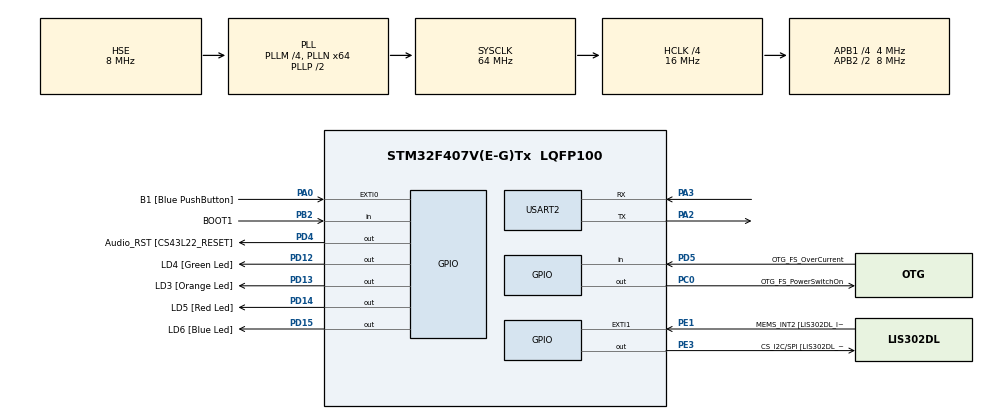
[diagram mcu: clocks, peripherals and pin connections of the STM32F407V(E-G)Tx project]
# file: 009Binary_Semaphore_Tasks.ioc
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Mcu.Family=STM32F4
Mcu.Name=STM32F407V(E-G)Tx
Mcu.Package=LQFP100
NVIC.PriorityGroup=NVIC_PRIORITYGROUP_4
NVIC.TIM6_DAC_IRQn=true\:0\:0\:false\:false\:true\:false\:true\:true
NVIC.TimeBase=TIM6_DAC_IRQn
NVIC.TimeBaseIP=TIM6
NVIC.USART2_IRQn=true\:6\:0\:true\:false\:true\:true\:true\:true
PA0-WKUP.GPIO_Label=B1 [Blue PushButton]
PA0-WKUP.GPIO_ModeDefaultEXTI=GPIO_MODE_IT_FALLING
PA0-WKUP.Signal=GPXTI0
PA10.GPIO_Label=OTG_FS_ID
PA10.GPIO_Mode=GPIO_MODE_AF_PP
PA10.GPIO_PuPd=GPIO_NOPULL
PA10.GPIO_Speed=GPIO_SPEED_FREQ_LOW
PA10.Signal=USB_OTG_FS_ID
PA11.GPIO_Label=OTG_FS_DM
PA11.GPIO_Mode=GPIO_MODE_AF_PP
PA11.GPIO_PuPd=GPIO_NOPULL
PA11.GPIO_Speed=GPIO_SPEED_FREQ_LOW
PA11.Signal=USB_OTG_FS_DM
PA12.GPIO_Label=OTG_FS_DP
PA12.GPIO_Mode=GPIO_MODE_AF_PP
PA12.GPIO_PuPd=GPIO_NOPULL
PA12.GPIO_Speed=GPIO_SPEED_FREQ_LOW
PA12.Signal=USB_OTG_FS_DP
PA13.GPIO_Label=SWDIO
PA13.Signal=SYS_JTMS-SWDIO
PA14.GPIO_Label=SWCLK
PA14.Signal=SYS_JTCK-SWCLK
PA2.Mode=Asynchronous
PA2.Signal=USART2_TX
PA3.Mode=Asynchronous
PA3.Signal=USART2_RX
PA4.GPIO_Label=I2S3_WS [CS43L22_LRCK]
PA4.GPIO_Mode=GPIO_MODE_AF_PP
PA4.GPIO_PuPd=GPIO_NOPULL
PA4.GPIO_Speed=GPIO_SPEED_FREQ_LOW
PA4.Signal=I2S3_WS
PA5.GPIO_Label=SPI1_SCK [LIS302DL_SCL/SPC]
PA5.GPIO_Mode=GPIO_MODE_AF_PP
PA5.GPIO_PuPd=GPIO_NOPULL
PA5.GPIO_Speed=GPIO_SPEED_FREQ_LOW
PA5.Signal=SPI1_SCK
PA6.GPIO_Label=SPI1_MISO [LIS302DL_SDO]
PA6.GPIO_Mode=GPIO_MODE_AF_PP
PA6.GPIO_PuPd=GPIO_NOPULL
PA6.GPIO_Speed=GPIO_SPEED_FREQ_LOW
PA6.Signal=SPI1_MISO
PA7.GPIO_Label=SPI1_MOSI [LIS302DL_SDA/SDI/SDO]
PA7.GPIO_Mode=GPIO_MODE_AF_PP
PA7.GPIO_PuPd=GPIO_NOPULL
PA7.GPIO_Speed=GPIO_SPEED_FREQ_LOW
PA7.Signal=SPI1_MOSI
PA9.GPIO_Label=VBUS_FS
PA9.GPIO_Mode=GPIO_MODE_INPUT
PA9.GPIO_PuPd=GPIO_NOPULL
PA9.Signal=USB_OTG_FS_VBUS
PB10.GPIO_Label=CLK_IN [MP45DT02_CLK]
PB10.GPIO_Mode=GPIO_MODE_AF_PP
PB10.GPIO_PuPd=GPIO_NOPULL
PB10.GPIO_Speed=GPIO_SPEED_FREQ_LOW
PB10.Signal=I2S2_CK
PB2.GPIO_Label=BOOT1
PB2.GPIO_Mode=GPIO_MODE_INPUT
PB2.GPIO_PuPd=GPIO_NOPULL
PB2.Signal=GPIO_Input
PB3.GPIO_Label=SWO
PB3.Signal=SYS_JTDO-SWO
PB6.GPIO_Label=Audio_SCL [CS43L22_SCL]
PB6.GPIO_Mode=GPIO_MODE_AF_OD
PB6.GPIO_PuPd=GPIO_NOPULL
PB6.GPIO_Speed=GPIO_SPEED_FREQ_LOW
PB6.Signal=I2C1_SCL
PB9.GPIO_Label=Audio_SDA [CS43L22_SDA]
PB9.GPIO_Mode=GPIO_MODE_AF_OD
PB9.GPIO_PuPd=GPIO_NOPULL
PB9.GPIO_Speed=GPIO_SPEED_FREQ_LOW
PB9.Signal=I2C1_SDA
PC0.GPIO_Label=OTG_FS_PowerSwitchOn
PC0.GPIO_PuPd=GPIO_NOPULL
PC0.GPIO_Speed=GPIO_SPEED_FREQ_LOW
PC0.PinState=GPIO_PIN_SET
PC0.Signal=GPIO_Output
PC10.GPIO_Label=I2S3_SCK [CS43L22_SCLK]
PC10.GPIO_Mode=GPIO_MODE_AF_PP
PC10.GPIO_PuPd=GPIO_NOPULL
PC10.GPIO_Speed=GPIO_SPEED_FREQ_LOW
PC10.Signal=I2S3_CK
PC12.GPIO_Label=I2S3_SD [CS43L22_SDIN]
PC12.GPIO_Mode=GPIO_MODE_AF_PP
PC12.GPIO_PuPd=GPIO_NOPULL
PC12.GPIO_Speed=GPIO_SPEED_FREQ_LOW
PC12.Signal=I2S3_SD
PC14-OSC32_IN.GPIO_Label=PC14-OSC32_IN
PC14-OSC32_IN.Signal=RCC_OSC32_IN
PC15-OSC32_OUT.GPIO_Label=PC15-OSC32_OUT
PC15-OSC32_OUT.Signal=RCC_OSC32_OUT
PC3.GPIO_Label=PDM_OUT [MP45DT02_DOUT]
PC3.GPIO_Mode=GPIO_MODE_AF_PP
PC3.GPIO_PuPd=GPIO_NOPULL
PC3.GPIO_Speed=GPIO_SPEED_FREQ_LOW
PC3.Signal=I2S2_SD
PC7.GPIO_Label=I2S3_MCK [CS43L22_MCLK]
PC7.GPIO_Mode=GPIO_MODE_AF_PP
PC7.GPIO_PuPd=GPIO_NOPULL
PC7.GPIO_Speed=GPIO_SPEED_FREQ_LOW
PC7.Signal=I2S3_MCK
PD12.GPIO_Label=LD4 [Green Led]
PD12.GPIO_PuPd=GPIO_NOPULL
PD12.GPIO_Speed=GPIO_SPEED_FREQ_LOW
PD12.Signal=GPIO_Output
PD13.GPIO_Label=LD3 [Orange Led]
PD13.GPIO_PuPd=GPIO_NOPULL
PD13.GPIO_Speed=GPIO_SPEED_FREQ_LOW
PD13.Signal=GPIO_Output
PD14.GPIO_Label=LD5 [Red Led]
PD14.GPIO_PuPd=GPIO_NOPULL
PD14.GPIO_Speed=GPIO_SPEED_FREQ_LOW
PD14.Signal=GPIO_Output
PD15.GPIO_Label=LD6 [Blue Led]
PD15.GPIO_PuPd=GPIO_NOPULL
PD15.GPIO_Speed=GPIO_SPEED_FREQ_LOW
PD15.Signal=GPIO_Output
PD4.GPIO_Label=Audio_RST [CS43L22_RESET]
PD4.GPIO_PuPd=GPIO_NOPULL
PD4.GPIO_Speed=GPIO_SPEED_FREQ_LOW
PD4.Signal=GPIO_Output
PD5.GPIO_Label=OTG_FS_OverCurrent
PD5.GPIO_Mode=GPIO_MODE_INPUT
PD5.GPIO_PuPd=GPIO_NOPULL
PD5.Signal=GPIO_Input
PE1.GPIO_Label=MEMS_INT2 [LIS302DL_INT2]
PE1.GPIO_ModeDefaultEXTI=GPIO_MODE_EVT_RISING
PE1.GPIO_PuPd=GPIO_NOPULL
PE1.Signal=GPXTI1
PE3.GPIO_Label=CS_I2C/SPI [LIS302DL_CS_I2C/SPI]
PE3.GPIO_PuPd=GPIO_NOPULL
PE3.GPIO_Speed=GPIO_SPEED_FREQ_LOW
PE3.Signal=GPIO_Output
PH0-OSC_IN.GPIO_Label=PH0-OSC_IN
PH0-OSC_IN.Mode=HSE-External-Oscillator
PH0-OSC_IN.Signal=RCC_OSC_IN
PH1-OSC_OUT.GPIO_Label=PH1-OSC_OUT
PH1-OSC_OUT.Mode=HSE-External-Oscillator
PH1-OSC_OUT.Signal=RCC_OSC_OUT
ProjectManager.HeapSize=0x200
ProjectManager.StackSize=0x400
ProjectManager.TargetToolchain=STM32CubeIDE
RCC.48MHZClocksFreq_Value=18285714.285714287
RCC.AHBCLKDivider=RCC_SYSCLK_DIV4
RCC.AHBFreq_Value=16000000
RCC.APB1CLKDivider=RCC_HCLK_DIV4
RCC.APB1Freq_Value=4000000
RCC.APB1TimFreq_Value=8000000
RCC.APB2CLKDivider=RCC_HCLK_DIV2
RCC.APB2Freq_Value=8000000
RCC.APB2TimFreq_Value=16000000
RCC.CortexFreq_Value=16000000
RCC.HCLKFreq_Value=16000000
RCC.HSE_VALUE=8000000
RCC.HSI_VALUE=16000000
RCC.LSE_VALUE=32768
RCC.PLLM=4
RCC.PLLN=64
RCC.PLLQ=7
RCC.PLLSourceVirtual=RCC_PLLSOURCE_HSE
RCC.SYSCLKFreq_VALUE=64000000
RCC.SYSCLKSource=RCC_SYSCLKSOURCE_PLLCLK
RCC.VCOOutputFreq_Value=128000000
USART2.VirtualMode=VM_ASYNC
VP_SYS_VS_tim6.Mode=TIM6
board=STM32F407G-DISC1

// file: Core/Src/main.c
/* USER CODE BEGIN Header */
/**
  ******************************************************************************
  * @file           : main.c
  * @brief          : Main program body
  ******************************************************************************
  * @attention
  *
  * Copyright (c) 2024 STMicroelectronics.
  * All rights reserved.
  *
  * This software is licensed under terms that can be found in the LICENSE file
  * in the root directory of this software component.
  * If no LICENSE file comes with this software, it is provided AS-IS.
  *
  ******************************************************************************
  */
/* USER CODE END Header */
#include "main.h"

/* USER CODE BEGIN Includes */
#include <stdio.h>
#include <string.h>
#include <stdlib.h>
#include "FreeRTOS.h"
#include "task.h"
#include "semphr.h"
#include "queue.h"
/* USER CODE END Includes */

/* USER CODE BEGIN PD */
#define DWT_CTRL	(*(volatile uint32_t*)0xE0001000)

/* USER CODE END PD */

UART_HandleTypeDef huart2;

/* USER CODE BEGIN PV */

volatile BaseType_t status_button = 0;

/* USER CODE END PV */

void SystemClock_Config(void);
static void MX_GPIO_Init(void);
static void MX_USART2_UART_Init(void);
/* USER CODE BEGIN PFP */

//global space for some variable
char msg[250] = {0};

TaskHandle_t xTaskHandleM = NULL;
TaskHandle_t xTaskHandleE = NULL;

/* The tasks to be created. */
static void vManagerTask( void *pvParameters );
static void vEmployeeTask( void *pvParameters );

/* Declare a variable of type xSemaphoreHandle.  This is used to reference the
semaphore that is used to synchronize both manager and employee task */
xSemaphoreHandle xWork;

/* this is the queue which manager uses to put the work ticket id */
xQueueHandle xWorkQueue;

/* USER CODE END PFP */

int main(void)
{
  /* USER CODE BEGIN 1 */

  BaseType_t status;

  /* USER CODE END 1 */

  /* MCU Configuration--------------------------------------------------------*/

  /* Reset of all peripherals, Initializes the Flash interface and the Systick. */
  HAL_Init();

  /* Configure the system clock */
  SystemClock_Config();

  /* Initialize all configured peripherals */
  MX_GPIO_Init();
  MX_USART2_UART_Init();
  /* USER CODE BEGIN 2 */

  DWT->CYCCNT = 0;

  DWT->CTRL |= DWT_CTRL_CYCCNTENA_Msk;

  SEGGER_SYSVIEW_Conf();

  sprintf(msg, "Demo of Binary semaphore usage between 2 Tasks \r\n");
  HAL_UART_Transmit(&huart2, (uint8_t*)msg, strlen(msg), HAL_MAX_DELAY);

  /* Before a semaphore is used it must be explicitly created.
   * In this example a binary semaphore is created . */
  vSemaphoreCreateBinary( xWork );

  /* The queue is created to hold a maximum of 1 Element. */
  xWorkQueue = xQueueCreate( 1, sizeof( unsigned int ) );

  /* Check the semaphore and queue was created successfully. */
  if ( (xWork != NULL) && (xWorkQueue != NULL) ) {

	/* Create the 'Manager' task.  This is the task that will be synchronized with the Employee task.  The Manager task is created with a high priority  */
	status = xTaskCreate( vManagerTask, "Manager", 500, NULL, 3, NULL );
	configASSERT(status == pdPASS);

	/* Create a employee task with less priority than manager */
	status = xTaskCreate( vEmployeeTask, "Employee", 500, NULL, 1, NULL );
	configASSERT(status == pdPASS);

	/* Start the scheduler so the created tasks start executing. */
	vTaskStartScheduler();
  }

  sprintf(msg,"Queue/Sema create failed.. \r\n");
  HAL_UART_Transmit(&huart2, (uint8_t*)msg, strlen(msg), HAL_MAX_DELAY);

  /* USER CODE END 2 */

  /* Infinite loop */
  while (1)
  {

  }
}

void SystemClock_Config(void)
{
  RCC_OscInitTypeDef RCC_OscInitStruct = {0};
  RCC_ClkInitTypeDef RCC_ClkInitStruct = {0};

  /** Configure the main internal regulator output voltage
  */
  __HAL_RCC_PWR_CLK_ENABLE();
  __HAL_PWR_VOLTAGESCALING_CONFIG(PWR_REGULATOR_VOLTAGE_SCALE1);

  /** Initializes the RCC Oscillators according to the specified parameters
  * in the RCC_OscInitTypeDef structure.
  */
  RCC_OscInitStruct.OscillatorType = RCC_OSCILLATORTYPE_HSE;
  RCC_OscInitStruct.HSEState = RCC_HSE_ON;
  RCC_OscInitStruct.PLL.PLLState = RCC_PLL_ON;
  RCC_OscInitStruct.PLL.PLLSource = RCC_PLLSOURCE_HSE;
  RCC_OscInitStruct.PLL.PLLM = 4;
  RCC_OscInitStruct.PLL.PLLN = 64;
  RCC_OscInitStruct.PLL.PLLP = RCC_PLLP_DIV2;
  RCC_OscInitStruct.PLL.PLLQ = 7;
  if (HAL_RCC_OscConfig(&RCC_OscInitStruct) != HAL_OK)
  {
    Error_Handler();
  }

  /** Initializes the CPU, AHB and APB buses clocks
  */
  RCC_ClkInitStruct.ClockType = RCC_CLOCKTYPE_HCLK|RCC_CLOCKTYPE_SYSCLK
                              |RCC_CLOCKTYPE_PCLK1|RCC_CLOCKTYPE_PCLK2;
  RCC_ClkInitStruct.SYSCLKSource = RCC_SYSCLKSOURCE_PLLCLK;
  RCC_ClkInitStruct.AHBCLKDivider = RCC_SYSCLK_DIV4;
  RCC_ClkInitStruct.APB1CLKDivider = RCC_HCLK_DIV4;
  RCC_ClkInitStruct.APB2CLKDivider = RCC_HCLK_DIV2;

  if (HAL_RCC_ClockConfig(&RCC_ClkInitStruct, FLASH_LATENCY_0) != HAL_OK)
  {
    Error_Handler();
  }
}

static void MX_USART2_UART_Init(void)
{

  huart2.Instance = USART2;
  huart2.Init.BaudRate = 115200;
  huart2.Init.WordLength = UART_WORDLENGTH_8B;
  huart2.Init.StopBits = UART_STOPBITS_1;
  huart2.Init.Parity = UART_PARITY_NONE;
  huart2.Init.Mode = UART_MODE_TX_RX;
  huart2.Init.HwFlowCtl = UART_HWCONTROL_NONE;
  huart2.Init.OverSampling = UART_OVERSAMPLING_16;
  if (HAL_UART_Init(&huart2) != HAL_OK)
  {
    Error_Handler();
  }

}

static void MX_GPIO_Init(void)
{
  GPIO_InitTypeDef GPIO_InitStruct = {0};

  /* GPIO Ports Clock Enable */
  __HAL_RCC_GPIOE_CLK_ENABLE();
  __HAL_RCC_GPIOC_CLK_ENABLE();
  __HAL_RCC_GPIOH_CLK_ENABLE();
  __HAL_RCC_GPIOA_CLK_ENABLE();
  __HAL_RCC_GPIOB_CLK_ENABLE();
  __HAL_RCC_GPIOD_CLK_ENABLE();

  /*Configure GPIO pin Output Level */
  HAL_GPIO_WritePin(CS_I2C_SPI_GPIO_Port, CS_I2C_SPI_Pin, GPIO_PIN_RESET);

  /*Configure GPIO pin Output Level */
  HAL_GPIO_WritePin(OTG_FS_PowerSwitchOn_GPIO_Port, OTG_FS_PowerSwitchOn_Pin, GPIO_PIN_SET);

  /*Configure GPIO pin Output Level */
  HAL_GPIO_WritePin(GPIOD, LD4_Pin|LD3_Pin|LD5_Pin|LD6_Pin
                          |Audio_RST_Pin, GPIO_PIN_RESET);

  /*Configure GPIO pin : CS_I2C_SPI_Pin */
  GPIO_InitStruct.Pin = CS_I2C_SPI_Pin;
  GPIO_InitStruct.Mode = GPIO_MODE_OUTPUT_PP;
  GPIO_InitStruct.Pull = GPIO_NOPULL;
  GPIO_InitStruct.Speed = GPIO_SPEED_FREQ_LOW;
  HAL_GPIO_Init(CS_I2C_SPI_GPIO_Port, &GPIO_InitStruct);

  /*Configure GPIO pin : OTG_FS_PowerSwitchOn_Pin */
  GPIO_InitStruct.Pin = OTG_FS_PowerSwitchOn_Pin;
  GPIO_InitStruct.Mode = GPIO_MODE_OUTPUT_PP;
  GPIO_InitStruct.Pull = GPIO_NOPULL;
  GPIO_InitStruct.Speed = GPIO_SPEED_FREQ_LOW;
  HAL_GPIO_Init(OTG_FS_PowerSwitchOn_GPIO_Port, &GPIO_InitStruct);

  /*Configure GPIO pin : PDM_OUT_Pin */
  GPIO_InitStruct.Pin = PDM_OUT_Pin;
  GPIO_InitStruct.Mode = GPIO_MODE_AF_PP;
  GPIO_InitStruct.Pull = GPIO_NOPULL;
  GPIO_InitStruct.Speed = GPIO_SPEED_FREQ_LOW;
  GPIO_InitStruct.Alternate = GPIO_AF5_SPI2;
  HAL_GPIO_Init(PDM_OUT_GPIO_Port, &GPIO_InitStruct);

  /*Configure GPIO pin : B1_Pin */
  GPIO_InitStruct.Pin = B1_Pin;
  GPIO_InitStruct.Mode = GPIO_MODE_IT_FALLING;
  GPIO_InitStruct.Pull = GPIO_NOPULL;
  HAL_GPIO_Init(B1_GPIO_Port, &GPIO_InitStruct);

  /*Configure GPIO pin : I2S3_WS_Pin */
  GPIO_InitStruct.Pin = I2S3_WS_Pin;
  GPIO_InitStruct.Mode = GPIO_MODE_AF_PP;
  GPIO_InitStruct.Pull = GPIO_NOPULL;
  GPIO_InitStruct.Speed = GPIO_SPEED_FREQ_LOW;
  GPIO_InitStruct.Alternate = GPIO_AF6_SPI3;
  HAL_GPIO_Init(I2S3_WS_GPIO_Port, &GPIO_InitStruct);

  /*Configure GPIO pins : SPI1_SCK_Pin SPI1_MISO_Pin SPI1_MOSI_Pin */
  GPIO_InitStruct.Pin = SPI1_SCK_Pin|SPI1_MISO_Pin|SPI1_MOSI_Pin;
  GPIO_InitStruct.Mode = GPIO_MODE_AF_PP;
  GPIO_InitStruct.Pull = GPIO_NOPULL;
  GPIO_InitStruct.Speed = GPIO_SPEED_FREQ_LOW;
  GPIO_InitStruct.Alternate = GPIO_AF5_SPI1;
  HAL_GPIO_Init(GPIOA, &GPIO_InitStruct);

  /*Configure GPIO pin : BOOT1_Pin */
  GPIO_InitStruct.Pin = BOOT1_Pin;
  GPIO_InitStruct.Mode = GPIO_MODE_INPUT;
  GPIO_InitStruct.Pull = GPIO_NOPULL;
  HAL_GPIO_Init(BOOT1_GPIO_Port, &GPIO_InitStruct);

  /*Configure GPIO pin : CLK_IN_Pin */
  GPIO_InitStruct.Pin = CLK_IN_Pin;
  GPIO_InitStruct.Mode = GPIO_MODE_AF_PP;
  GPIO_InitStruct.Pull = GPIO_NOPULL;
  GPIO_InitStruct.Speed = GPIO_SPEED_FREQ_LOW;
  GPIO_InitStruct.Alternate = GPIO_AF5_SPI2;
  HAL_GPIO_Init(CLK_IN_GPIO_Port, &GPIO_InitStruct);

  /*Configure GPIO pins : LD4_Pin LD3_Pin LD5_Pin LD6_Pin
                           Audio_RST_Pin */
  GPIO_InitStruct.Pin = LD4_Pin|LD3_Pin|LD5_Pin|LD6_Pin
                          |Audio_RST_Pin;
  GPIO_InitStruct.Mode = GPIO_MODE_OUTPUT_PP;
  GPIO_InitStruct.Pull = GPIO_NOPULL;
  GPIO_InitStruct.Speed = GPIO_SPEED_FREQ_LOW;
  HAL_GPIO_Init(GPIOD, &GPIO_InitStruct);

  /*Configure GPIO pins : I2S3_MCK_Pin I2S3_SCK_Pin I2S3_SD_Pin */
  GPIO_InitStruct.Pin = I2S3_MCK_Pin|I2S3_SCK_Pin|I2S3_SD_Pin;
  GPIO_InitStruct.Mode = GPIO_MODE_AF_PP;
  GPIO_InitStruct.Pull = GPIO_NOPULL;
  GPIO_InitStruct.Speed = GPIO_SPEED_FREQ_LOW;
  GPIO_InitStruct.Alternate = GPIO_AF6_SPI3;
  HAL_GPIO_Init(GPIOC, &GPIO_InitStruct);

  /*Configure GPIO pin : VBUS_FS_Pin */
  GPIO_InitStruct.Pin = VBUS_FS_Pin;
  GPIO_InitStruct.Mode = GPIO_MODE_INPUT;
  GPIO_InitStruct.Pull = GPIO_NOPULL;
  HAL_GPIO_Init(VBUS_FS_GPIO_Port, &GPIO_InitStruct);

  /*Configure GPIO pins : OTG_FS_ID_Pin OTG_FS_DM_Pin OTG_FS_DP_Pin */
  GPIO_InitStruct.Pin = OTG_FS_ID_Pin|OTG_FS_DM_Pin|OTG_FS_DP_Pin;
  GPIO_InitStruct.Mode = GPIO_MODE_AF_PP;
  GPIO_InitStruct.Pull = GPIO_NOPULL;
  GPIO_InitStruct.Speed = GPIO_SPEED_FREQ_LOW;
  GPIO_InitStruct.Alternate = GPIO_AF10_OTG_FS;
  HAL_GPIO_Init(GPIOA, &GPIO_InitStruct);

  /*Configure GPIO pin : OTG_FS_OverCurrent_Pin */
  GPIO_InitStruct.Pin = OTG_FS_OverCurrent_Pin;
  GPIO_InitStruct.Mode = GPIO_MODE_INPUT;
  GPIO_InitStruct.Pull = GPIO_NOPULL;
  HAL_GPIO_Init(OTG_FS_OverCurrent_GPIO_Port, &GPIO_InitStruct);

  /*Configure GPIO pins : Audio_SCL_Pin Audio_SDA_Pin */
  GPIO_InitStruct.Pin = Audio_SCL_Pin|Audio_SDA_Pin;
  GPIO_InitStruct.Mode = GPIO_MODE_AF_OD;
  GPIO_InitStruct.Pull = GPIO_NOPULL;
  GPIO_InitStruct.Speed = GPIO_SPEED_FREQ_LOW;
  GPIO_InitStruct.Alternate = GPIO_AF4_I2C1;
  HAL_GPIO_Init(GPIOB, &GPIO_InitStruct);

  /*Configure GPIO pin : MEMS_INT2_Pin */
  GPIO_InitStruct.Pin = MEMS_INT2_Pin;
  GPIO_InitStruct.Mode = GPIO_MODE_EVT_RISING;
  GPIO_InitStruct.Pull = GPIO_NOPULL;
  HAL_GPIO_Init(MEMS_INT2_GPIO_Port, &GPIO_InitStruct);

}

/* USER CODE BEGIN 4 */

static void vManagerTask(void *pvParameters)
{
	unsigned int xWorkTicketId;
	portBASE_TYPE xStatus;

	/* The semaphore is created in the 'empty' state, meaning the semaphore must
	first be given using the xSemaphoreGive() API function before it
	can subsequently be taken (obtained) */
	//xSemaphoreGive(xWork);

	for ( ;; ) {
		/* get a work ticket id(some random number) */
		xWorkTicketId = ( rand() & 0x1FF );

		/* Sends work ticket id to the work queue */
		xStatus = xQueueSend( xWorkQueue, &xWorkTicketId , portMAX_DELAY ); //Post an item on back of the queue

		if ( xStatus != pdPASS ) {
			sprintf(msg,"Could not send to the queue.\r\n");
			HAL_UART_Transmit(&huart2, (uint8_t*)msg, strlen(msg), HAL_MAX_DELAY);

		} else {
			/* Manager notifying the employee by "Giving" semaphore */
			//xSemaphoreGive(xWork);
			/* after assigning the work , just yield the processor because nothing to do */
			taskYIELD();
		}
	}
}

void EmployeeDoWork(unsigned char TicketId)
{
	/* implement the work according to TickedID */
	sprintf(msg,"Employee task : Working on Ticked id : %d\r\n",TicketId);
	HAL_UART_Transmit(&huart2, (uint8_t*)msg, strlen(msg), HAL_MAX_DELAY);
	vTaskDelay(TicketId);
}

static void vEmployeeTask(void *pvParameters)
{
	unsigned char xWorkTicketId;
	portBASE_TYPE xQueueStatus;
	/* As per most tasks, this task is implemented within an infinite loop. */
	for ( ;; ) {
		/* First Employee tries to take the semaphore, if it is available that means there is a task assigned by manager, otherwise employee task will be blocked */

		xSemaphoreTake( xWork, portMAX_DELAY );

		//if (xSemaphoreTake( xWork, 0 ) == pdTRUE) {
			/* get the ticket id from the work queue */
			xQueueStatus = xQueueReceive( xWorkQueue, &xWorkTicketId, 0 );

			if ( xQueueStatus == pdPASS ) {
			  /* employee may decode the xWorkTicketId in this function to do the work*/
				EmployeeDoWork(xWorkTicketId);
			} else {
				/* We did not receive anything from the queue.  This must be an error as this task should only run when the manager assigns at least one work. */
				sprintf(msg,"Employee task : Queue is empty , nothing to do.\r\n");
				HAL_UART_Transmit(&huart2, (uint8_t*)msg, strlen(msg), HAL_MAX_DELAY);
			}
		//}

	}
}

void HAL_UART_RxCpltCallback(UART_HandleTypeDef *huart)
{

}

/* USER CODE END 4 */

void HAL_TIM_PeriodElapsedCallback(TIM_HandleTypeDef *htim)
{
  if (htim->Instance == TIM6) {
    HAL_IncTick();
  }
}

void Error_Handler(void)
{
  __disable_irq();
  while (1)
  {
  }
}
